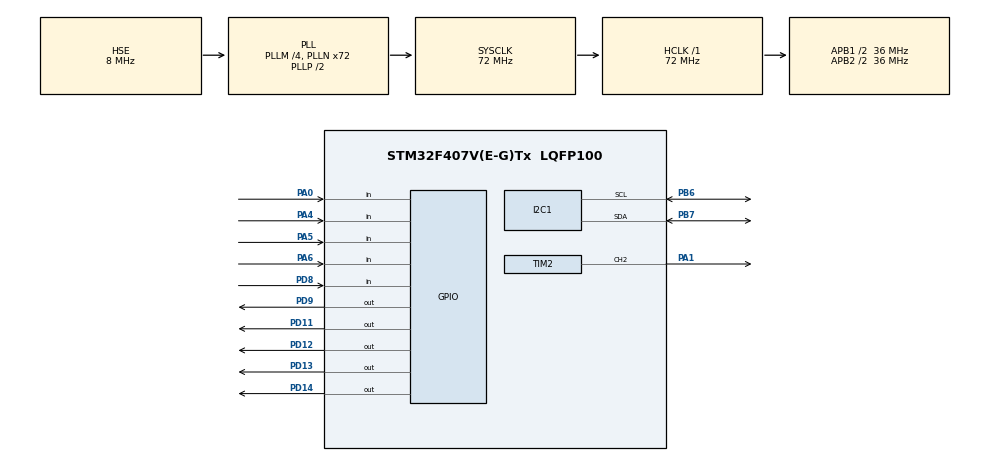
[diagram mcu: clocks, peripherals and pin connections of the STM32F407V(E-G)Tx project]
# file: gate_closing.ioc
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Mcu.Family=STM32F4
Mcu.Name=STM32F407V(E-G)Tx
Mcu.Package=LQFP100
NVIC.PriorityGroup=NVIC_PRIORITYGROUP_0
PA0-WKUP.Signal=GPIO_Input
PA1.Signal=S_TIM2_CH2
PA13.Mode=Serial_Wire
PA13.Signal=SYS_JTMS-SWDIO
PA14.Mode=Serial_Wire
PA14.Signal=SYS_JTCK-SWCLK
PA4.Signal=GPIO_Input
PA5.Signal=GPIO_Input
PA6.Signal=GPIO_Input
PB6.Mode=I2C
PB6.Signal=I2C1_SCL
PB7.Mode=I2C
PB7.Signal=I2C1_SDA
PD11.Signal=GPIO_Output
PD12.Signal=GPIO_Output
PD13.Signal=GPIO_Output
PD14.Signal=GPIO_Output
PD8.Signal=GPIO_Input
PD9.Signal=GPIO_Output
PH0-OSC_IN.Mode=HSE-External-Oscillator
PH0-OSC_IN.Signal=RCC_OSC_IN
PH1-OSC_OUT.Mode=HSE-External-Oscillator
PH1-OSC_OUT.Signal=RCC_OSC_OUT
ProjectManager.HeapSize=0x200
ProjectManager.StackSize=0x400
ProjectManager.TargetToolchain=STM32CubeIDE
RCC.48MHZClocksFreq_Value=20571428.57142857
RCC.AHBFreq_Value=72000000
RCC.APB1CLKDivider=RCC_HCLK_DIV2
RCC.APB1Freq_Value=36000000
RCC.APB1TimFreq_Value=72000000
RCC.APB2CLKDivider=RCC_HCLK_DIV2
RCC.APB2Freq_Value=36000000
RCC.APB2TimFreq_Value=72000000
RCC.CortexFreq_Value=72000000
RCC.HCLKFreq_Value=72000000
RCC.HSE_VALUE=8000000
RCC.HSI_VALUE=16000000
RCC.LSE_VALUE=32768
RCC.PLLM=4
RCC.PLLN=72
RCC.PLLQ=7
RCC.PLLSourceVirtual=RCC_PLLSOURCE_HSE
RCC.SYSCLKFreq_VALUE=72000000
RCC.SYSCLKSource=RCC_SYSCLKSOURCE_PLLCLK
RCC.VCOOutputFreq_Value=144000000
SH.S_TIM2_CH2.0=TIM2_CH2,PWM Generation2 CH2
TIM1.Prescaler=72-1
TIM2.Channel-PWM\ Generation2\ CH2=TIM_CHANNEL_2
TIM2.Period=9999
TIM2.Prescaler=15
VP_TIM1_VS_ClockSourceINT.Mode=Internal
VP_TIM2_VS_ClockSourceINT.Mode=Internal
board=STM32F407G-DISC1

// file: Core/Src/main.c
/* USER CODE BEGIN Header */
/**
  ******************************************************************************
  * @file           : main.c
  * @brief          : Main program body
  ******************************************************************************
  * @attention
  *
  * Copyright (c) 2024 STMicroelectronics.
  * All rights reserved.
  *
  * This software is licensed under terms that can be found in the LICENSE file
  * in the root directory of this software component.
  * If no LICENSE file comes with this software, it is provided AS-IS.
  *
  ******************************************************************************
  */
/* USER CODE END Header */
#include "main.h"

/* USER CODE BEGIN Includes */
#include <string.h>
#include <stdio.h>
#include "lcd16x2_i2c.h"
/* USER CODE END Includes */

/* USER CODE BEGIN PTD */
#define usTIM	TIM1
/* USER CODE END PTD */

I2C_HandleTypeDef hi2c1;

TIM_HandleTypeDef htim1;
TIM_HandleTypeDef htim2;

void SystemClock_Config(void);
static void MX_GPIO_Init(void);
static void MX_TIM1_Init(void);
static void MX_I2C1_Init(void);
static void MX_TIM2_Init(void);
/* USER CODE BEGIN PFP */
void readSensor();
/* USER CODE END PFP */

/* USER CODE BEGIN 0 */
//const float SpeedofSound = 0.0343/2;
//float distance;
//char uartBuf[100];
//int x;
uint8_t car_front_entering;
uint8_t car_back_exiting;
int slots = 2;
int S1 = 0, S2 = 0;
int flag1 = 0,flag2 = 0;

//int flag = 0;
/* USER CODE END 0 */

int main(void)
{
  /* USER CODE BEGIN 1 */
//uint32_t numTicks = 0;

  /* USER CODE END 1 */

  /* MCU Configuration--------------------------------------------------------*/

  /* Reset of all peripherals, Initializes the Flash interface and the Systick. */
  HAL_Init();

  /* Configure the system clock */
  SystemClock_Config();

  /* Initialize all configured peripherals */
  MX_GPIO_Init();
  MX_TIM1_Init();
  MX_I2C1_Init();
  MX_TIM2_Init();
  /* USER CODE BEGIN 2 */
  if(lcd16x2_i2c_init(&hi2c1))
   {
 	  HAL_GPIO_WritePin(GPIOD, GPIO_PIN_14, SET);
   }
  HAL_TIM_PWM_Start(&htim2,TIM_CHANNEL_2);
//   readSensor();
//   slots = 2;
//   int total = S1 + S2;
//   slots = slots - total;

//   lcd16x2_i2c_1stLine();
//   lcd16x2_i2c_printf("total slots=%d", slot);
//   lcd16x2_i2c_setCursor(1,0);
//   lcd16x2_i2c_printf("s1=0 ");
//   lcd16x2_i2c_setCursor(1,4);
//   lcd16x2_i2c_printf("s2=0 ");
//   lcd16x2_i2c_setCursor(1,8);
//   lcd16x2_i2c_printf("s3=0 ");
//   lcd16x2_i2c_setCursor(1,12);
//   lcd16x2_i2c_printf("s4=0 ");

//   lcd16x2_i2c_2ndLine();
//   lcd16x2_i2c_printf(");

  /* USER CODE END 2 */

  /* Infinite loop */
  while (1)
  {

    /* USER CODE BEGIN 3 */

	  car_front_entering = HAL_GPIO_ReadPin(GPIOA, GPIO_PIN_0);
	  car_back_exiting = HAL_GPIO_ReadPin(GPIOA, GPIO_PIN_5);
	  readSensor();
	  lcd16x2_i2c_setCursor(0,0);
	   lcd16x2_i2c_printf(" Total slots = %d",slots);
	   lcd16x2_i2c_setCursor(1,0);
	   if(S1 == 1)
	   {
		   lcd16x2_i2c_printf("s1 = 1 ");
	   }
	   else
	   {
		   lcd16x2_i2c_printf("s1 = 0 ");
	   }
	   lcd16x2_i2c_setCursor(1,10);
	   if(S2 == 1)
	   {
		   lcd16x2_i2c_printf("s2 = 1 ");
	   }
	   else
	   {
		   lcd16x2_i2c_printf("s2 = 0 ");
	   }

	   if(car_front_entering == RESET && flag1 == 0 )//
	  	  {
//		   __HAL_TIM_SET_COMPARE(&htim2, TIM_CHANNEL_2,1250);
	  		  HAL_GPIO_WritePin(GPIOD, GPIO_PIN_12, SET);
	  		  if(slots>0)
	  		  {
	  			  flag1 = 1;

	  			  if(flag2 == 0)
	  			  {
	  			  __HAL_TIM_SET_COMPARE(&htim2, TIM_CHANNEL_2,1250);
	  			  slots = slots-1;

	  			  }
	  			  HAL_Delay(3000);
//
	  		  }
	  		  else
	  		  	  {
	  			  HAL_GPIO_WritePin(GPIOD, GPIO_PIN_14, SET);
	  			  lcd16x2_i2c_setCursor(1,0);
	  			  lcd16x2_i2c_printf("  sorry no slot  ");

	  			  HAL_Delay(3000);
//	  			  __HAL_TIM_SET_COMPARE(&htim2, TIM_CHANNEL_2,250);
	  		  	  }
	  	  }
	  		if(car_back_exiting  == RESET && flag2 == 0)
	  			  {
	  				HAL_GPIO_WritePin(GPIOD, GPIO_PIN_12, SET);
	  				flag2 = 1;
	  				  if(flag1 == 0)
	  				  {
	  					  __HAL_TIM_SET_COMPARE(&htim2, TIM_CHANNEL_2,1250);
	  					  HAL_Delay(3000);
	  					  slots = slots + 1;

	  				  }
	  			  }

	  		if (flag1 == 1 && flag2 == 1)
	  			  {
	  		//		  HAL_Delay(500);
	  		//		  x=1250;
	  				  __HAL_TIM_SET_COMPARE(&htim2, TIM_CHANNEL_2,250);
	  				  HAL_Delay(1000);
	  				  flag1 = 0,flag2 = 0;

	  			  }
  }
  /* USER CODE END 3 */
}

void SystemClock_Config(void)
{
  RCC_OscInitTypeDef RCC_OscInitStruct = {0};
  RCC_ClkInitTypeDef RCC_ClkInitStruct = {0};

  /** Configure the main internal regulator output voltage
  */
  __HAL_RCC_PWR_CLK_ENABLE();
  __HAL_PWR_VOLTAGESCALING_CONFIG(PWR_REGULATOR_VOLTAGE_SCALE1);

  /** Initializes the RCC Oscillators according to the specified parameters
  * in the RCC_OscInitTypeDef structure.
  */
  RCC_OscInitStruct.OscillatorType = RCC_OSCILLATORTYPE_HSE;
  RCC_OscInitStruct.HSEState = RCC_HSE_ON;
  RCC_OscInitStruct.PLL.PLLState = RCC_PLL_ON;
  RCC_OscInitStruct.PLL.PLLSource = RCC_PLLSOURCE_HSE;
  RCC_OscInitStruct.PLL.PLLM = 4;
  RCC_OscInitStruct.PLL.PLLN = 72;
  RCC_OscInitStruct.PLL.PLLP = RCC_PLLP_DIV2;
  RCC_OscInitStruct.PLL.PLLQ = 7;
  if (HAL_RCC_OscConfig(&RCC_OscInitStruct) != HAL_OK)
  {
    Error_Handler();
  }

  /** Initializes the CPU, AHB and APB buses clocks
  */
  RCC_ClkInitStruct.ClockType = RCC_CLOCKTYPE_HCLK|RCC_CLOCKTYPE_SYSCLK
                              |RCC_CLOCKTYPE_PCLK1|RCC_CLOCKTYPE_PCLK2;
  RCC_ClkInitStruct.SYSCLKSource = RCC_SYSCLKSOURCE_PLLCLK;
  RCC_ClkInitStruct.AHBCLKDivider = RCC_SYSCLK_DIV1;
  RCC_ClkInitStruct.APB1CLKDivider = RCC_HCLK_DIV2;
  RCC_ClkInitStruct.APB2CLKDivider = RCC_HCLK_DIV2;

  if (HAL_RCC_ClockConfig(&RCC_ClkInitStruct, FLASH_LATENCY_2) != HAL_OK)
  {
    Error_Handler();
  }
}

static void MX_I2C1_Init(void)
{

  hi2c1.Instance = I2C1;
  hi2c1.Init.ClockSpeed = 100000;
  hi2c1.Init.DutyCycle = I2C_DUTYCYCLE_2;
  hi2c1.Init.OwnAddress1 = 0;
  hi2c1.Init.AddressingMode = I2C_ADDRESSINGMODE_7BIT;
  hi2c1.Init.DualAddressMode = I2C_DUALADDRESS_DISABLE;
  hi2c1.Init.OwnAddress2 = 0;
  hi2c1.Init.GeneralCallMode = I2C_GENERALCALL_DISABLE;
  hi2c1.Init.NoStretchMode = I2C_NOSTRETCH_DISABLE;
  if (HAL_I2C_Init(&hi2c1) != HAL_OK)
  {
    Error_Handler();
  }

}

static void MX_TIM1_Init(void)
{

  TIM_ClockConfigTypeDef sClockSourceConfig = {0};
  TIM_MasterConfigTypeDef sMasterConfig = {0};

  htim1.Instance = TIM1;
  htim1.Init.Prescaler = 72-1;
  htim1.Init.CounterMode = TIM_COUNTERMODE_UP;
  htim1.Init.Period = 65535;
  htim1.Init.ClockDivision = TIM_CLOCKDIVISION_DIV1;
  htim1.Init.RepetitionCounter = 0;
  htim1.Init.AutoReloadPreload = TIM_AUTORELOAD_PRELOAD_DISABLE;
  if (HAL_TIM_Base_Init(&htim1) != HAL_OK)
  {
    Error_Handler();
  }
  sClockSourceConfig.ClockSource = TIM_CLOCKSOURCE_INTERNAL;
  if (HAL_TIM_ConfigClockSource(&htim1, &sClockSourceConfig) != HAL_OK)
  {
    Error_Handler();
  }
  sMasterConfig.MasterOutputTrigger = TIM_TRGO_RESET;
  sMasterConfig.MasterSlaveMode = TIM_MASTERSLAVEMODE_DISABLE;
  if (HAL_TIMEx_MasterConfigSynchronization(&htim1, &sMasterConfig) != HAL_OK)
  {
    Error_Handler();
  }

}

static void MX_TIM2_Init(void)
{

  TIM_ClockConfigTypeDef sClockSourceConfig = {0};
  TIM_MasterConfigTypeDef sMasterConfig = {0};
  TIM_OC_InitTypeDef sConfigOC = {0};

  htim2.Instance = TIM2;
  htim2.Init.Prescaler = 72-1;
  htim2.Init.CounterMode = TIM_COUNTERMODE_UP;
  htim2.Init.Period = 9999;
  htim2.Init.ClockDivision = TIM_CLOCKDIVISION_DIV1;
  htim2.Init.AutoReloadPreload = TIM_AUTORELOAD_PRELOAD_DISABLE;
  if (HAL_TIM_Base_Init(&htim2) != HAL_OK)
  {
    Error_Handler();
  }
  sClockSourceConfig.ClockSource = TIM_CLOCKSOURCE_INTERNAL;
  if (HAL_TIM_ConfigClockSource(&htim2, &sClockSourceConfig) != HAL_OK)
  {
    Error_Handler();
  }
  if (HAL_TIM_PWM_Init(&htim2) != HAL_OK)
  {
    Error_Handler();
  }
  sMasterConfig.MasterOutputTrigger = TIM_TRGO_RESET;
  sMasterConfig.MasterSlaveMode = TIM_MASTERSLAVEMODE_DISABLE;
  if (HAL_TIMEx_MasterConfigSynchronization(&htim2, &sMasterConfig) != HAL_OK)
  {
    Error_Handler();
  }
  sConfigOC.OCMode = TIM_OCMODE_PWM1;
  sConfigOC.Pulse = 0;
  sConfigOC.OCPolarity = TIM_OCPOLARITY_HIGH;
  sConfigOC.OCFastMode = TIM_OCFAST_DISABLE;
  if (HAL_TIM_PWM_ConfigChannel(&htim2, &sConfigOC, TIM_CHANNEL_2) != HAL_OK)
  {
    Error_Handler();
  }
  HAL_TIM_MspPostInit(&htim2);

}

static void MX_GPIO_Init(void)
{
  GPIO_InitTypeDef GPIO_InitStruct = {0};

  /* GPIO Ports Clock Enable */
  __HAL_RCC_GPIOH_CLK_ENABLE();
  __HAL_RCC_GPIOA_CLK_ENABLE();
  __HAL_RCC_GPIOD_CLK_ENABLE();
  __HAL_RCC_GPIOB_CLK_ENABLE();

  /*Configure GPIO pin Output Level */
  HAL_GPIO_WritePin(GPIOD, GPIO_PIN_9|GPIO_PIN_11|GPIO_PIN_12|GPIO_PIN_13
                          |GPIO_PIN_14, GPIO_PIN_RESET);

  /*Configure GPIO pins : PA0 PA4 PA5 PA6 */
  GPIO_InitStruct.Pin = GPIO_PIN_0|GPIO_PIN_4|GPIO_PIN_5|GPIO_PIN_6;
  GPIO_InitStruct.Mode = GPIO_MODE_INPUT;
  GPIO_InitStruct.Pull = GPIO_NOPULL;
  HAL_GPIO_Init(GPIOA, &GPIO_InitStruct);

  /*Configure GPIO pin : PD8 */
  GPIO_InitStruct.Pin = GPIO_PIN_8;
  GPIO_InitStruct.Mode = GPIO_MODE_INPUT;
  GPIO_InitStruct.Pull = GPIO_NOPULL;
  HAL_GPIO_Init(GPIOD, &GPIO_InitStruct);

  /*Configure GPIO pins : PD9 PD11 PD12 PD13
                           PD14 */
  GPIO_InitStruct.Pin = GPIO_PIN_9|GPIO_PIN_11|GPIO_PIN_12|GPIO_PIN_13
                          |GPIO_PIN_14;
  GPIO_InitStruct.Mode = GPIO_MODE_OUTPUT_PP;
  GPIO_InitStruct.Pull = GPIO_NOPULL;
  GPIO_InitStruct.Speed = GPIO_SPEED_FREQ_LOW;
  HAL_GPIO_Init(GPIOD, &GPIO_InitStruct);

}

/* USER CODE BEGIN 4 */
void usDelay(uint32_t uSec)
{
	if(uSec < 2) uSec = 2;
	usTIM->ARR = uSec - 1; 	/*sets the value in the auto-reload register*/
	usTIM->EGR = 1; 			/*Re-initialises the timer*/
	usTIM->SR &= ~1; 		//Resets the flag
	usTIM->CR1 |= 1; 		//Enables the counter
	while((usTIM->SR&0x0001) != 1);
	usTIM->SR &= ~(0x0001);
}
void readSensor() {
 int S1 = 0, S2 = 0;
 if (HAL_GPIO_ReadPin(GPIOA, GPIO_PIN_4) == GPIO_PIN_RESET)
 {
	 S1 = 1;
 }
 if (HAL_GPIO_ReadPin(GPIOA, GPIO_PIN_6) == GPIO_PIN_RESET)
 {
	 S2 = 1;
 }
}
/* USER CODE END 4 */

void Error_Handler(void)
{
  __disable_irq();
  while (1)
  {
  }
}
